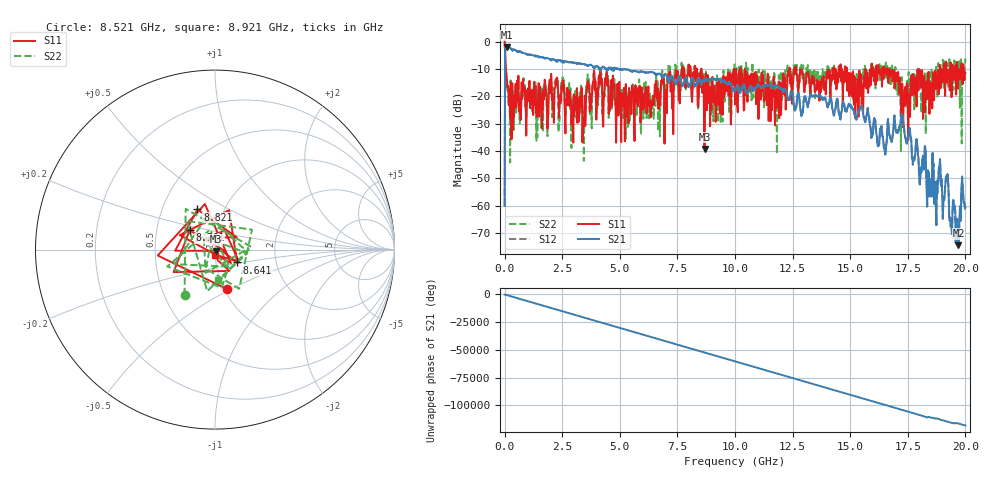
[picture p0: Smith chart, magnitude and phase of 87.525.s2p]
! Created with skrf 1.9.0 (http://scikit-rf.org).
# Hz S RI R 50.0
!freq ReS11 ImS11 ReS21 ImS21 ReS12 ImS12 ReS22 ImS22
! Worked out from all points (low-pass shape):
!   1001 points, 1 MHz to 20 GHz, reference 50 ohm
!   highest |S21| = -1.93 dB at 121 MHz (marker M1); lowest = -74.5 dB at 19.7 GHz (marker M2)
!   |S21| within 3 dB of the highest: 20.83 MHz to 1.17 GHz (1.15 GHz wide, 193 % of centre); 1.191 GHz to 1.209 GHz (17.33 MHz wide, 1.44 % of centre)
!   lowest |S11| = -39.3 dB at 8.681 GHz (marker M3), VSWR 1.02, Z = 50.5 - j0.946 ohm
!   |S11| at or under -10 dB: 56.97 MHz to 7.706 GHz (7.649 GHz wide, 197 % of centre); 10.44 GHz to 12.36 GHz (1.915 GHz wide, 16.8 % of centre); 16.61 GHz to 18.87 GHz (2.259 GHz wide, 12.7 % of centre) (the widest 3 of 38)
!   |S22| runs from -44.2 to -0.2 dB; largest |S21 - S12| = 0.02
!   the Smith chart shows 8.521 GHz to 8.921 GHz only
!   S11 on the Smith chart (normalised r, x): 8.521 GHz: 1.03, -0.47; 8.641 GHz: 1.27, -0.18; 8.761 GHz: 0.74, +0.16; 8.821 GHz: 0.75, +0.36; 8.921 GHz: 1.00, -0.06
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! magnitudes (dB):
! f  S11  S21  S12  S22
! 1 MHz  0.4  -60.1  -60.0  -0.2
! 121 MHz  -16.6  -1.9  -1.9  -17.8
! 301 MHz  -35.7  -2.6  -2.6  -34.5
! 2.221 GHz  -13.8  -7.2  -7.2  -15.4
! 3.341 GHz  -16.8  -8.3  -8.2  -19.8
! 4.141 GHz  -11.5  -10.3  -10.1  -12.3
! 5.261 GHz  -15.5  -10.2  -10.2  -35.5
! 6.681 GHz  -24.6  -11.8  -11.7  -24.5
! 8.521 GHz  -12.8  -15.3  -15.4  -10.3
! 8.641 GHz  -16.9  -14.3  -14.4  -11.8
! 8.681 GHz  -39.3  -13.4  -13.4  -30.6
! 8.761 GHz  -15.0  -13.6  -13.5  -18.8
! 8.821 GHz  -12.2  -14.0  -13.8  -14.2
! 8.921 GHz  -31.0  -14.1  -14.1  -15.3
! 10 GHz  -23.0  -17.4  -18.0  -9.2
! 13.34 GHz  -15.2  -20.0  -19.6  -14.4
! 16.68 GHz  -10.2  -32.8  -32.9  -9.7
! 17.26 GHz  -15.4  -26.9  -27.1  -15.8
! 18.44 GHz  -26.4  -56.7  -56.4  -11.9
! 19.18 GHz  -9.0  -50.6  -50.9  -12.5
! 19.7 GHz  -10.1  -74.5  -74.8  -9.3
! 20 GHz  -11.4  -60.8  -60.2  -6.2
